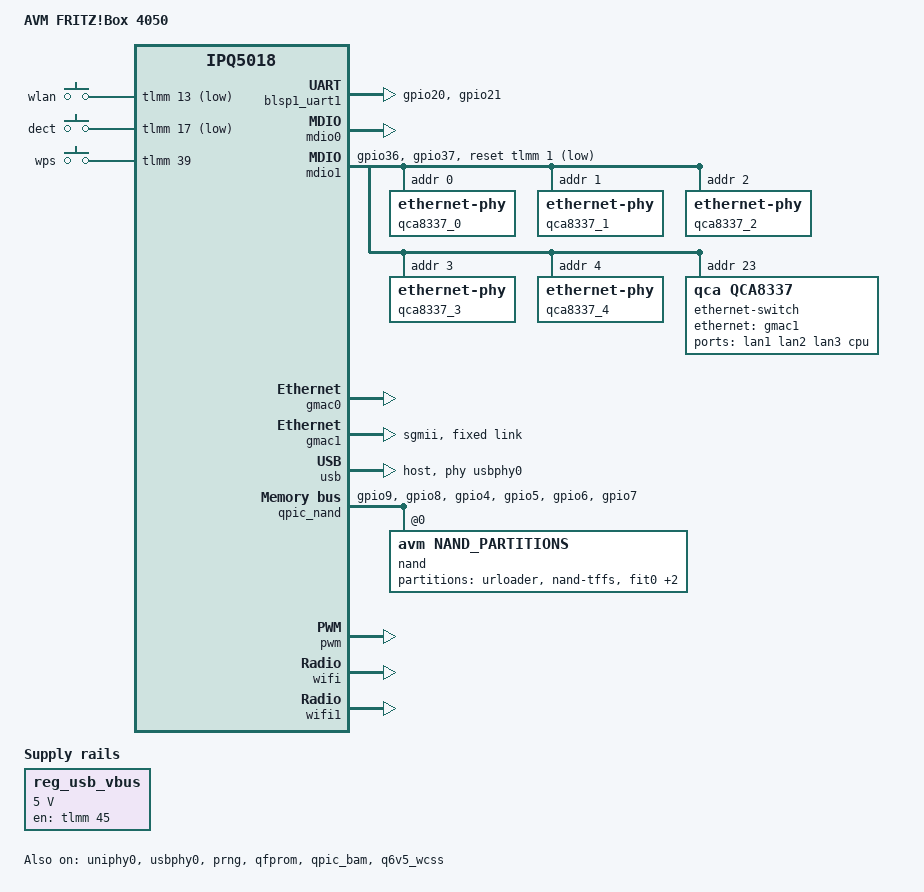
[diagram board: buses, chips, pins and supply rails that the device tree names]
// SPDX-License-Identifier: GPL-2.0-or-later OR MIT

/dts-v1/;

#include "ipq5018.dtsi"
#include "ipq5018-ess.dtsi"
#include "ipq5018-qcn6122.dtsi"

#include <dt-bindings/gpio/gpio.h>
#include <dt-bindings/input/input.h>

/ {
	model = "AVM FRITZ!Box 4050";
	compatible = "avm,fritzbox-4050", "qcom,ipq5018";

	aliases {
		serial0 = &blsp1_uart1;
	};

	chosen {
		bootargs = "ubi.mtd=ubi root=/dev/ubiblock0_0 swiotlb=1 coherent_pool=2M";
		stdout-path = "serial0:115200n8";
	};

	keys {
		compatible = "gpio-keys";
		pinctrl-0 = <&button_pins>;
		pinctrl-names = "default";

		button-0 {
			label = "wlan";
			gpios = <&tlmm 13 GPIO_ACTIVE_LOW>;
			linux,code = <KEY_RFKILL>;
		};

		button-1 {
			label = "dect";
			gpios = <&tlmm 17 GPIO_ACTIVE_LOW>;
			linux,code = <KEY_PHONE>;
		};

		button-2 {
			label = "wps";
			gpios = <&tlmm 39 GPIO_ACTIVE_HIGH>;
			linux,code = <KEY_WPS_BUTTON>;
		};
	};

	reg_usb_vbus: regulator-usb-vbus {
		compatible = "regulator-fixed";
		regulator-name = "usb_vbus";
		regulator-min-microvolt = <5000000>;
		regulator-max-microvolt = <5000000>;
		gpios = <&tlmm 45 GPIO_ACTIVE_HIGH>;
		regulator-boot-on;
		enable-active-high;
	};
};

&blsp1_uart1 {
	pinctrl-0 = <&serial_0_pins>;
	pinctrl-names = "default";
	status = "okay";
};

&mdio0 {
	status = "okay";
};

&mdio1 {
	status = "okay";

	pinctrl-0 = <&mdio1_pins>;
	pinctrl-names = "default";
	reset-gpios = <&tlmm 1 GPIO_ACTIVE_LOW>;

	qca8337_0: ethernet-phy@0 {
		reg = <0>;
	};

	qca8337_1: ethernet-phy@1 {
		reg = <1>;
	};

	qca8337_2: ethernet-phy@2 {
		reg = <2>;
	};

	qca8337_3: ethernet-phy@3 {
		reg = <3>;
	};

	qca8337_4: ethernet-phy@4 {
		reg = <4>;
	};

	ethernet-switch@17 {
		compatible = "qca,qca8337";
		reg = <0x17>;
		#address-cells = <1>;
		#size-cells = <0>;
		mdio = <&mdio1>;

		ports {
			#address-cells = <1>;
			#size-cells = <0>;

			port@1 {
				reg = <1>;
				label = "lan1";
				phy-handle = <&qca8337_0>;
			};

			port@3 {
				reg = <3>;
				label = "lan2";
				phy-handle = <&qca8337_2>;
			};

			port@5 {
				reg = <5>;
				label = "lan3";
				phy-handle = <&qca8337_4>;
			};

			port@6 {
				reg = <6>;
				label = "cpu";
				phy-mode = "sgmii";
				ethernet = <&gmac1>;
				qca,sgmii-enable-pll;

				fixed-link {
					speed = <1000>;
					full-duplex;
				};
			};
		};
	};
};

&gmac0 {
	status = "okay";

	label = "wan";
};

&gmac1 {
	status = "okay";

	phy-mode = "sgmii";

	fixed-link {
		speed = <1000>;
		full-duplex;
	};
};

&uniphy0 {
	status = "okay";

	assigned-clocks = <&uniphy0 UNIPHY_CLK_REF>;
	assigned-clock-rates = <UNIPHY_REFCLK_25MHZ>;
};

&tlmm {
	button_pins: button-pins {
		pins = "gpio13", "gpio17", "gpio39";
		function = "gpio";
		drive-strength = <8>;
		bias-pull-up;
	};

	mdio1_pins: mdio-state {
		mdc-pins {
			pins = "gpio36";
			function = "mdc";
			drive-strength = <8>;
			bias-pull-up;
		};

		mdio-pins {
			pins = "gpio37";
			function = "mdio";
			drive-strength = <8>;
			bias-pull-up;
		};
	};

	qpic_pins: qpic-state {
		clock-pins {
			pins = "gpio9";
			function = "qspi_clk";
			drive-strength = <8>;
			bias-disable;
		};

		cs-pins {
			pins = "gpio8";
			function = "qspi_cs";
			drive-strength = <8>;
			bias-disable;
		};

		data-pins {
			pins = "gpio4", "gpio5", "gpio6", "gpio7";
			function = "qspi_data";
			drive-strength = <8>;
			bias-disable;
		};
	};

	serial_0_pins: uart0-state {
		pins = "gpio20", "gpio21";
		function = "blsp0_uart0";
		drive-strength = <8>;
		bias-disable;
	};
};

&usb {
	status = "okay";

	dr_mode = "host";

	// workaround
	phys = <&usbphy0>;
	phy-names = "usb2-phy";
	qcom,select-utmi-as-pipe-clk;
};

&usbphy0 {
	status = "okay";
	vdd-supply = <&reg_usb_vbus>;
};

&sleep_clk {
	clock-frequency = <32000>;
};

&xo_board_clk {
	clock-div = <4>;
	clock-mult = <1>;
};

&qpic_nand {
	pinctrl-0 = <&qpic_pins>;
	pinctrl-names = "default";
	status = "okay";

	nand@0 {
		compatible = "avm,nand_partitions", "spi-nand";
		reg = <0>;
		nand-ecc-engine = <&qpic_nand>;
		nand-ecc-strength = <4>;
		nand-ecc-step-size = <512>;
		nand-bus-width = <8>;

		partitions {
			compatible = "fixed-partitions";
			#address-cells = <1>;
			#size-cells = <1>;

			partition@0 {
				label = "urloader";
				reg = <0x00000000 0x540000>;
				read-only;
			};

			partition@1 {
				label = "nand-tffs";
				reg = <0x540000 0x800000>;
				read-only;
			};

			partition@2 {
				label = "fit0";
				reg = <0xd40000 0x800000>;
			};

			partition@3 {
				label = "fit1";
				reg = <0x1540000 0x800000>;
			};

			partition@4 {
				label = "ubi";
				reg = <0x1d40000 0x62c0000>;
			};
		};
	};
};

&prng {
	status = "okay";
};

&qfprom {
	status = "okay";
};

&qpic_bam {
	status = "okay";
};

&pwm {
	status = "okay";
};

&q6v5_wcss {
	status = "okay";

	/* The QCN6102 radio should map to UPD ID 2. Without       */
	/* bootargs, the firmware will expect it to be on UPD ID 3 */
	boot-args = <
		/*       type:	*/	0x2	/* PCIE0	*/
		/*     length:	*/	4
		/*     UPD ID:	*/	2
		/* reset GPIO:	*/	15
		/*   reserved:	*/	0 0>;
};

&wifi {
	// IPQ5018
	status = "okay";

	qcom,rproc = <&q6_wcss_pd1>;
	qcom,ath11k-calibration-variant = "AVM-FritzBox4050";
	qcom,ath11k-fw-memory-mode = <1>;
	qcom,bdf-addr = <0x4c400000>;
};

&wifi1 {
	// QCN6102 5G
	status = "okay";

	qcom,rproc = <&q6_wcss_pd2>;
	qcom,userpd-subsys-name = "q6v5_wcss_userpd2";
	qcom,ath11k-calibration-variant = "AVM-FritzBox4050";
	qcom,ath11k-fw-memory-mode = <1>;
	qcom,bdf-addr = <0x4d100000>;
	qcom,m3-dump-addr = <0x4df00000>;
};
